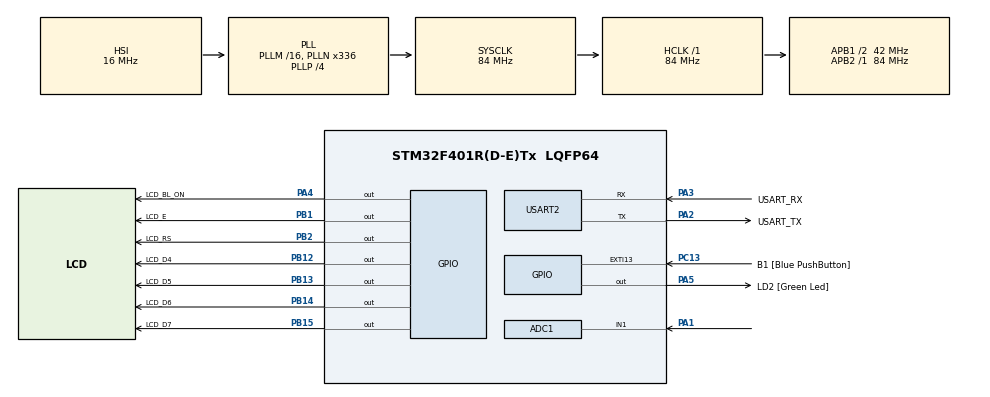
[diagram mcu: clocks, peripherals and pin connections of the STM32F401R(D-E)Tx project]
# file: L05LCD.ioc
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ADC1.Channel-0\#ChannelRegularConversion=ADC_CHANNEL_1
ADC1.ExternalTrigConv=ADC_EXTERNALTRIGCONV_T2_TRGO
ADC1.NbrOfConversionFlag=1
ADC1.Rank-0\#ChannelRegularConversion=1
ADC1.SamplingTime-0\#ChannelRegularConversion=ADC_SAMPLETIME_480CYCLES
ADC1.master=1
Mcu.Family=STM32F4
Mcu.Name=STM32F401R(D-E)Tx
Mcu.Package=LQFP64
NVIC.ADC_IRQn=true\:0\:0\:false\:false\:true\:true\:true\:true
NVIC.PriorityGroup=NVIC_PRIORITYGROUP_0
NVIC.TIM2_IRQn=true\:0\:0\:false\:false\:true\:true\:true\:true
PA1.Signal=ADCx_IN1
PA13.GPIO_Label=TMS
PA13.Mode=Serial_Wire
PA13.Signal=SYS_JTMS-SWDIO
PA14.GPIO_Label=TCK
PA14.Mode=Serial_Wire
PA14.Signal=SYS_JTCK-SWCLK
PA2.GPIO_Label=USART_TX
PA2.GPIO_Mode=GPIO_MODE_AF_PP
PA2.GPIO_PuPd=GPIO_NOPULL
PA2.GPIO_Speed=GPIO_SPEED_FREQ_LOW
PA2.Mode=Asynchronous
PA2.Signal=USART2_TX
PA3.GPIO_Label=USART_RX
PA3.GPIO_Mode=GPIO_MODE_AF_PP
PA3.GPIO_PuPd=GPIO_NOPULL
PA3.GPIO_Speed=GPIO_SPEED_FREQ_LOW
PA3.Mode=Asynchronous
PA3.Signal=USART2_RX
PA4.GPIO_Label=LCD_BL_ON
PA4.Signal=GPIO_Output
PA5.GPIO_Label=LD2 [Green Led]
PA5.GPIO_Mode=GPIO_MODE_OUTPUT_PP
PA5.GPIO_PuPd=GPIO_NOPULL
PA5.GPIO_Speed=GPIO_SPEED_FREQ_LOW
PA5.Signal=GPIO_Output
PB1.GPIO_Label=LCD_E
PB1.Signal=GPIO_Output
PB12.GPIO_Label=LCD_D4
PB12.Signal=GPIO_Output
PB13.GPIO_Label=LCD_D5
PB13.Signal=GPIO_Output
PB14.GPIO_Label=LCD_D6
PB14.Signal=GPIO_Output
PB15.GPIO_Label=LCD_D7
PB15.Signal=GPIO_Output
PB2.GPIO_Label=LCD_RS
PB2.Signal=GPIO_Output
PB3.GPIO_Label=SWO
PB3.Signal=SYS_JTDO-SWO
PC13-ANTI_TAMP.GPIO_Label=B1 [Blue PushButton]
PC13-ANTI_TAMP.GPIO_ModeDefaultEXTI=GPIO_MODE_IT_FALLING
PC13-ANTI_TAMP.GPIO_PuPd=GPIO_NOPULL
PC13-ANTI_TAMP.Signal=GPXTI13
PC14-OSC32_IN.Mode=LSE-External-Oscillator
PC14-OSC32_IN.Signal=RCC_OSC32_IN
PC15-OSC32_OUT.Mode=LSE-External-Oscillator
PC15-OSC32_OUT.Signal=RCC_OSC32_OUT
PH0\ -\ OSC_IN.Mode=HSE-External-Clock-Source
PH0\ -\ OSC_IN.Signal=RCC_OSC_IN
PH1\ -\ OSC_OUT.Mode=HSE-External-Clock-Source
PH1\ -\ OSC_OUT.Signal=RCC_OSC_OUT
ProjectManager.HeapSize=0x200
ProjectManager.StackSize=0x400
ProjectManager.TargetToolchain=STM32CubeIDE
RCC.48MHZClocksFreq_Value=48000000
RCC.AHBFreq_Value=84000000
RCC.APB1CLKDivider=RCC_HCLK_DIV2
RCC.APB1Freq_Value=42000000
RCC.APB1TimFreq_Value=84000000
RCC.APB2Freq_Value=84000000
RCC.APB2TimFreq_Value=84000000
RCC.CortexFreq_Value=84000000
RCC.HCLKFreq_Value=84000000
RCC.HSE_VALUE=8000000
RCC.HSI_VALUE=16000000
RCC.PLLN=336
RCC.PLLP=RCC_PLLP_DIV4
RCC.PLLQ=7
RCC.SYSCLKFreq_VALUE=84000000
RCC.SYSCLKSource=RCC_SYSCLKSOURCE_PLLCLK
RCC.VCOOutputFreq_Value=336000000
SH.ADCx_IN1.0=ADC1_IN1,IN1
TIM2.Period=9999
TIM2.Prescaler=8399
TIM2.TIM_MasterOutputTrigger=TIM_TRGO_UPDATE
USART2.VirtualMode=VM_ASYNC
VP_TIM2_VS_ClockSourceINT.Mode=Internal
board=NUCLEO-F401RE

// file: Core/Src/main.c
/* USER CODE BEGIN Header */
/**
  ******************************************************************************
  * @file           : main.c
  * @brief          : Main program body
  ******************************************************************************
  * @attention
  *
  * Copyright (c) 2024 STMicroelectronics.
  * All rights reserved.
  *
  * This software is licensed under terms that can be found in the LICENSE file
  * in the root directory of this software component.
  * If no LICENSE file comes with this software, it is provided AS-IS.
  *
  ******************************************************************************
  */
/* USER CODE END Header */
#include "main.h"

/* USER CODE BEGIN Includes */
#include <stdio.h>
#include <string.h>
#include "PMDB16_LCD.h"
/* USER CODE END Includes */

ADC_HandleTypeDef hadc1;

TIM_HandleTypeDef htim2;

UART_HandleTypeDef huart2;

void SystemClock_Config(void);
static void MX_GPIO_Init(void);
static void MX_USART2_UART_Init(void);
static void MX_ADC1_Init(void);
static void MX_TIM2_Init(void);

/* USER CODE BEGIN 0 */
uint32_t value;	 //digital value read from ADC
float voltage;   //variable to contain voltage on ADC, calculated from value
char string[64]; //string to be sent through UART
uint16_t length; //length of string
/* USER CODE END 0 */

int main(void)
{

  /* MCU Configuration--------------------------------------------------------*/

  /* Reset of all peripherals, Initializes the Flash interface and the Systick. */
  HAL_Init();

  /* Configure the system clock */
  SystemClock_Config();

  /* Initialize all configured peripherals */
  MX_GPIO_Init();
  MX_USART2_UART_Init();
  MX_ADC1_Init();
  MX_TIM2_Init();
  /* USER CODE BEGIN 2 */
  lcd_initialize();
  lcd_backlight_ON();
  HAL_TIM_Base_Start(&htim2);
  HAL_ADC_Start_IT(&hadc1);
  /* USER CODE END 2 */

  /* Infinite loop */
  while (1)
  {

  }
}

void SystemClock_Config(void)
{
  RCC_OscInitTypeDef RCC_OscInitStruct = {0};
  RCC_ClkInitTypeDef RCC_ClkInitStruct = {0};

  /** Configure the main internal regulator output voltage
  */
  __HAL_RCC_PWR_CLK_ENABLE();
  __HAL_PWR_VOLTAGESCALING_CONFIG(PWR_REGULATOR_VOLTAGE_SCALE2);

  /** Initializes the RCC Oscillators according to the specified parameters
  * in the RCC_OscInitTypeDef structure.
  */
  RCC_OscInitStruct.OscillatorType = RCC_OSCILLATORTYPE_HSI;
  RCC_OscInitStruct.HSIState = RCC_HSI_ON;
  RCC_OscInitStruct.HSICalibrationValue = RCC_HSICALIBRATION_DEFAULT;
  RCC_OscInitStruct.PLL.PLLState = RCC_PLL_ON;
  RCC_OscInitStruct.PLL.PLLSource = RCC_PLLSOURCE_HSI;
  RCC_OscInitStruct.PLL.PLLM = 16;
  RCC_OscInitStruct.PLL.PLLN = 336;
  RCC_OscInitStruct.PLL.PLLP = RCC_PLLP_DIV4;
  RCC_OscInitStruct.PLL.PLLQ = 7;
  if (HAL_RCC_OscConfig(&RCC_OscInitStruct) != HAL_OK)
  {
    Error_Handler();
  }

  /** Initializes the CPU, AHB and APB buses clocks
  */
  RCC_ClkInitStruct.ClockType = RCC_CLOCKTYPE_HCLK|RCC_CLOCKTYPE_SYSCLK
                              |RCC_CLOCKTYPE_PCLK1|RCC_CLOCKTYPE_PCLK2;
  RCC_ClkInitStruct.SYSCLKSource = RCC_SYSCLKSOURCE_PLLCLK;
  RCC_ClkInitStruct.AHBCLKDivider = RCC_SYSCLK_DIV1;
  RCC_ClkInitStruct.APB1CLKDivider = RCC_HCLK_DIV2;
  RCC_ClkInitStruct.APB2CLKDivider = RCC_HCLK_DIV1;

  if (HAL_RCC_ClockConfig(&RCC_ClkInitStruct, FLASH_LATENCY_2) != HAL_OK)
  {
    Error_Handler();
  }
}

static void MX_ADC1_Init(void)
{

  ADC_ChannelConfTypeDef sConfig = {0};

  /** Configure the global features of the ADC (Clock, Resolution, Data Alignment and number of conversion)
  */
  hadc1.Instance = ADC1;
  hadc1.Init.ClockPrescaler = ADC_CLOCK_SYNC_PCLK_DIV4;
  hadc1.Init.Resolution = ADC_RESOLUTION_12B;
  hadc1.Init.ScanConvMode = DISABLE;
  hadc1.Init.ContinuousConvMode = DISABLE;
  hadc1.Init.DiscontinuousConvMode = DISABLE;
  hadc1.Init.ExternalTrigConvEdge = ADC_EXTERNALTRIGCONVEDGE_RISING;
  hadc1.Init.ExternalTrigConv = ADC_EXTERNALTRIGCONV_T2_TRGO;
  hadc1.Init.DataAlign = ADC_DATAALIGN_RIGHT;
  hadc1.Init.NbrOfConversion = 1;
  hadc1.Init.DMAContinuousRequests = DISABLE;
  hadc1.Init.EOCSelection = ADC_EOC_SINGLE_CONV;
  if (HAL_ADC_Init(&hadc1) != HAL_OK)
  {
    Error_Handler();
  }

  /** Configure for the selected ADC regular channel its corresponding rank in the sequencer and its sample time.
  */
  sConfig.Channel = ADC_CHANNEL_1;
  sConfig.Rank = 1;
  sConfig.SamplingTime = ADC_SAMPLETIME_480CYCLES;
  if (HAL_ADC_ConfigChannel(&hadc1, &sConfig) != HAL_OK)
  {
    Error_Handler();
  }

}

static void MX_TIM2_Init(void)
{

  TIM_ClockConfigTypeDef sClockSourceConfig = {0};
  TIM_MasterConfigTypeDef sMasterConfig = {0};

  htim2.Instance = TIM2;
  htim2.Init.Prescaler = 8399;
  htim2.Init.CounterMode = TIM_COUNTERMODE_UP;
  htim2.Init.Period = 9999;
  htim2.Init.ClockDivision = TIM_CLOCKDIVISION_DIV1;
  htim2.Init.AutoReloadPreload = TIM_AUTORELOAD_PRELOAD_DISABLE;
  if (HAL_TIM_Base_Init(&htim2) != HAL_OK)
  {
    Error_Handler();
  }
  sClockSourceConfig.ClockSource = TIM_CLOCKSOURCE_INTERNAL;
  if (HAL_TIM_ConfigClockSource(&htim2, &sClockSourceConfig) != HAL_OK)
  {
    Error_Handler();
  }
  sMasterConfig.MasterOutputTrigger = TIM_TRGO_UPDATE;
  sMasterConfig.MasterSlaveMode = TIM_MASTERSLAVEMODE_DISABLE;
  if (HAL_TIMEx_MasterConfigSynchronization(&htim2, &sMasterConfig) != HAL_OK)
  {
    Error_Handler();
  }

}

static void MX_USART2_UART_Init(void)
{

  huart2.Instance = USART2;
  huart2.Init.BaudRate = 115200;
  huart2.Init.WordLength = UART_WORDLENGTH_8B;
  huart2.Init.StopBits = UART_STOPBITS_1;
  huart2.Init.Parity = UART_PARITY_NONE;
  huart2.Init.Mode = UART_MODE_TX_RX;
  huart2.Init.HwFlowCtl = UART_HWCONTROL_NONE;
  huart2.Init.OverSampling = UART_OVERSAMPLING_16;
  if (HAL_UART_Init(&huart2) != HAL_OK)
  {
    Error_Handler();
  }

}

static void MX_GPIO_Init(void)
{
  GPIO_InitTypeDef GPIO_InitStruct = {0};

  /* GPIO Ports Clock Enable */
  __HAL_RCC_GPIOC_CLK_ENABLE();
  __HAL_RCC_GPIOH_CLK_ENABLE();
  __HAL_RCC_GPIOA_CLK_ENABLE();
  __HAL_RCC_GPIOB_CLK_ENABLE();

  /*Configure GPIO pin Output Level */
  HAL_GPIO_WritePin(GPIOA, LCD_BL_ON_Pin|LD2_Pin, GPIO_PIN_RESET);

  /*Configure GPIO pin Output Level */
  HAL_GPIO_WritePin(GPIOB, LCD_E_Pin|LCD_RS_Pin|LCD_D4_Pin|LCD_D5_Pin
                          |LCD_D6_Pin|LCD_D7_Pin, GPIO_PIN_RESET);

  /*Configure GPIO pin : B1_Pin */
  GPIO_InitStruct.Pin = B1_Pin;
  GPIO_InitStruct.Mode = GPIO_MODE_IT_FALLING;
  GPIO_InitStruct.Pull = GPIO_NOPULL;
  HAL_GPIO_Init(B1_GPIO_Port, &GPIO_InitStruct);

  /*Configure GPIO pins : LCD_BL_ON_Pin LD2_Pin */
  GPIO_InitStruct.Pin = LCD_BL_ON_Pin|LD2_Pin;
  GPIO_InitStruct.Mode = GPIO_MODE_OUTPUT_PP;
  GPIO_InitStruct.Pull = GPIO_NOPULL;
  GPIO_InitStruct.Speed = GPIO_SPEED_FREQ_LOW;
  HAL_GPIO_Init(GPIOA, &GPIO_InitStruct);

  /*Configure GPIO pins : LCD_E_Pin LCD_RS_Pin LCD_D4_Pin LCD_D5_Pin
                           LCD_D6_Pin LCD_D7_Pin */
  GPIO_InitStruct.Pin = LCD_E_Pin|LCD_RS_Pin|LCD_D4_Pin|LCD_D5_Pin
                          |LCD_D6_Pin|LCD_D7_Pin;
  GPIO_InitStruct.Mode = GPIO_MODE_OUTPUT_PP;
  GPIO_InitStruct.Pull = GPIO_NOPULL;
  GPIO_InitStruct.Speed = GPIO_SPEED_FREQ_LOW;
  HAL_GPIO_Init(GPIOB, &GPIO_InitStruct);

}

/* USER CODE BEGIN 4 */
/*
void HAL_TIM_PeriodElapsedCallback(TIM_HandleTypeDef *htim) {
	if (htim->Instance == TIM2) {
		HAL_ADC_Start_IT(&hadc1);
	}
}*/

void HAL_ADC_ConvCpltCallback(ADC_HandleTypeDef* hadc) {
	if (hadc->Instance == ADC1) {
		value = HAL_ADC_GetValue(&hadc1);
		voltage = value * 3.3/4096.0; // convert digital value to voltage
		length = snprintf(string, sizeof(string), "Voltage: %.3f", voltage);
		lcd_println(string, 0);
		lcd_drawBar(value/4096.0*80.0);
	}
}
/* USER CODE END 4 */

void Error_Handler(void)
{
  __disable_irq();
  while (1)
  {
  }
}
